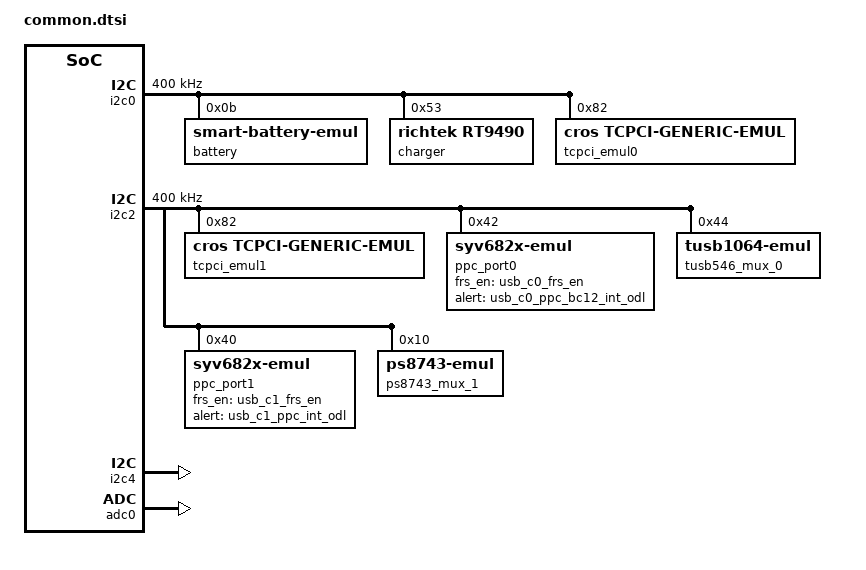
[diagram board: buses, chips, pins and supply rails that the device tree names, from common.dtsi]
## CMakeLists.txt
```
# Copyright 2023 The ChromiumOS Authors
# Use of this source code is governed by a BSD-style license that can be
# found in the LICENSE file.

cmake_minimum_required(VERSION 3.13.1)
find_package(Zephyr REQUIRED HINTS "${ZEPHYR_BASE}")
project(geralt)

add_subdirectory(${PLATFORM_EC}/zephyr/test/test_utils test_utils)

zephyr_include_directories(
	"${PLATFORM_EC_PROGRAM_DIR}/geralt/include"
	include)

zephyr_compile_definitions(DT_N_S_i2c_f03680_P_target_buffered_mode=0)

target_sources(app PRIVATE
	${PLATFORM_EC_PROGRAM_DIR}/geralt/src/base_detect.c
	${PLATFORM_EC_PROGRAM_DIR}/geralt/src/hibernate.c
	${PLATFORM_EC_PROGRAM_DIR}/geralt/src/hooks.c
	${PLATFORM_EC_PROGRAM_DIR}/geralt/src/usbc_config.c
	${PLATFORM_EC_PROGRAM_DIR}/geralt/src/usb_pd_policy.c)

target_sources_ifdef(CONFIG_TEST_GERALT
	app PRIVATE
	src/base_detect.c
	src/common.c
	src/fakes.c
	src/main.c
	src/usbc_config.c)

target_sources_ifdef(CONFIG_TEST_CIRI
	app PRIVATE
	src/fakes.c
	src/board_ciri.c
	${PLATFORM_EC_PROGRAM_DIR}/geralt/ciri/src/board_config.c)
```

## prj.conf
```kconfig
# Copyright 2023 The ChromiumOS Authors
# Use of this source code is governed by a BSD-style license that can be
# found in the LICENSE file.

CONFIG_ZTEST=y
CONFIG_ZTEST_ASSERT_VERBOSE=1

CONFIG_ASSERT=y
CONFIG_ADC=y
CONFIG_CROS_EC=y
CONFIG_EMUL=y

CONFIG_SHIMMED_TASKS=n

CONFIG_PLATFORM_EC=y
CONFIG_PLATFORM_EC_BACKLIGHT_LID=n
CONFIG_PLATFORM_EC_BASE_ATTACHED_SWITCH=y
CONFIG_PLATFORM_EC_BATTERY_FUEL_GAUGE=y
CONFIG_PLATFORM_EC_CHARGER=y
CONFIG_PLATFORM_EC_CHARGER_SENSE_RESISTOR=10
CONFIG_PLATFORM_EC_CHARGER_SENSE_RESISTOR_AC=20
CONFIG_PLATFORM_EC_CHARGE_MANAGER=y
CONFIG_PLATFORM_EC_CHARGE_RAMP_HW=y
CONFIG_PLATFORM_EC_DETACHABLE_BASE=y
CONFIG_PLATFORM_EC_GPIO_INIT_PRIORITY=49
CONFIG_PLATFORM_EC_HOOKS=y
CONFIG_PLATFORM_EC_HOSTCMD=y
CONFIG_PLATFORM_EC_LID_SWITCH=y
CONFIG_PLATFORM_EC_POWERSEQ_HOST_SLEEP=y
CONFIG_PLATFORM_EC_POWER_BUTTON=y
CONFIG_PLATFORM_EC_POWER_SLEEP_FAILURE_DETECTION=y
CONFIG_PLATFORM_EC_SWITCH=n
CONFIG_PLATFORM_EC_TABLET_MODE=y
CONFIG_PLATFORM_EC_USBC=y
CONFIG_PLATFORM_EC_USB_CHARGER=n
CONFIG_PLATFORM_EC_USB_DRP_ACC_TRYSRC=y
CONFIG_PLATFORM_EC_USB_PD_DISCHARGE=y
CONFIG_PLATFORM_EC_USB_PD_DISCHARGE_PPC=y
CONFIG_PLATFORM_EC_USB_PD_VBUS_MEASURE_ADC_EACH_PORT=y
CONFIG_PLATFORM_EC_USB_POWER_DELIVERY=y
CONFIG_PLATFORM_EC_VBOOT_HASH=n

CONFIG_AP_ARM_MTK_MT8188=y
CONFIG_PLATFORM_EC_CHIPSET_RESUME_INIT_HOOK=y
CONFIG_PLATFORM_EC_EXTPOWER_GPIO=y
CONFIG_PLATFORM_EC_POWERSEQ=y
CONFIG_PLATFORM_EC_POWERSEQ_PP5000_CONTROL=n

CONFIG_PLATFORM_EC_USBC_PPC=y

CONFIG_PINCTRL=y
CONFIG_PINCTRL_KEEP_SLEEP_STATE=y

CONFIG_UART_NATIVE_PTY_0_ON_STDINOUT=y
```

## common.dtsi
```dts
/* Copyright 2023 The ChromiumOS Authors
 * Use of this source code is governed by a BSD-style license that can be
 * found in the LICENSE file.
 */

#include <it8xxx2_emul.dts>

/ {
	pinctrl: pinctrl {
		compatible = "ite,it8xxx2-pinctrl";
		status = "disabled";
	};

	intc: interrupt-controller@e000e100 {
		#address-cells = <1>;
		compatible = "arm,v7m-nvic";
		reg = <0xe000e100 0xc00>;
		interrupt-controller;
		#interrupt-cells = <2>;
		arm,num-irq-priority-bits = <4>;
	};

	named-gpios {
		usb_c0_frs_en: usb-c0-frs-en {
			gpios = <&gpioa 3 GPIO_OUTPUT_LOW>;
		};
	};

	named-i2c-ports {
		compatible = "named-i2c-ports";

		battery {
			i2c-port = <&i2c0>;
			remote-port = <1>;
			enum-names = "I2C_PORT_BATTERY",
				"I2C_PORT_VIRTUAL_BATTERY";
		};
		i2c_charger: charger {
			i2c-port = <&i2c0>;
			enum-names = "I2C_PORT_CHARGER",
				"I2C_PORT_EEPROM";
		};
		i2c_sensor: sensor {
			i2c-port = <&i2c2>;
			enum-names = "I2C_PORT_SENSOR";
		};
		i2c_usb_c: usb-c {
			i2c-port = <&i2c2>;
			enum-names = "I2C_PORT_USB_C";
		};
		i2c_detachable_base: detachable-base {
			i2c-port = <&i2c4>;
			enum-names = "I2C_PORT_DETACHABLE_BASE";
		};
	};

	usbc {
		#address-cells = <1>;
		#size-cells = <0>;

		port0@0 {
			compatible = "named-usbc-port";
			status = "okay";
			reg = <0>;
			chg = <&charger>;
			tcpc = <&tcpci_emul0>;
			ppc = <&ppc_port0>;
			usb-mux-chain-0 {
				compatible = "cros-ec,usb-mux-chain";
				usb-muxes = <&tusb546_mux_0 &virtual_mux_0>;
			};
		};
		port0-muxes {
			virtual_mux_0: virtual-mux-0 {
				compatible = "cros-ec,usbc-mux-virtual";
			};
		};

		port1@1 {
			compatible = "named-usbc-port";
			status = "okay";
			reg = <1>;
			tcpc = <&tcpci_emul1>;
			ppc = <&ppc_port1>;
			usb-mux-chain-1 {
				compatible = "cros-ec,usb-mux-chain";
				usb-muxes = <&ps8743_mux_1 &virtual_mux_1>;
			};
		};
		port1-muxes {
			virtual_mux_1: virtual-mux-1 {
				compatible = "cros-ec,usbc-mux-virtual";
			};
		};
	};

	batteries {
		default_battery: lgc_ac17a8m {
			compatible = "lgc,ac17a8m", "battery-smart";
			/**
			 * this has to be strictly lower than the desired
			 * voltage in smart battery emulator (5000mV).
			 */
			voltage_min = <4000>;
		};
	};

	named-adc-channels {
		compatible = "named-adc-channels";

		adc_vbus_c0: adc-vbus-c0 {
			enum-name = "ADC_VBUS_C0";
			io-channels = <&adc0 0>;
			mul = <10>;
		};
		adc_board_id0 {
			enum-name = "ADC_BOARD_ID_0";
			io-channels = <&adc0 1>;
		};
		adc_board_id1 {
			enum-name = "ADC_BOARD_ID_1";
			io-channels = <&adc0 2>;
		};
		adc_base_det: adc-base-det {
			enum-name = "ADC_BASE_DET";
			io-channels = <&adc0 5>;
		};
		adc_vbus_c1 {
			enum-name = "ADC_VBUS_C1";
			io-channels = <&adc0 7>;
			mul = <10>;
		};
		adc_charger: charger {
			enum-name = "ADC_TEMP_SENSOR_CHARGER";
			io-channels = <&adc0 6>;
		};
	};
};

&i2c0 {
	/* I2C_BATTERY */
	battery: sb@b {
		compatible = "zephyr,smart-battery-emul";
		reg = <0xb>;
		cycle-count = <99>;
		version = "BATTERY_SPEC_VER_1_1_WITH_PEC";
		/* Real battery voltages are multiples of 4.4V. */
		desired-charg-volt = <5000>;
		desired-charg-cur = <1000>;
		mf-name = "LGC";
		dev-name = "AC17A8M";
	};

	/* I2C_PWR_CBI */
	status = "okay";
	clock-frequency = <I2C_BITRATE_FAST>;

	charger: rt9490@53 {
		compatible = "richtek,rt9490", "zephyr,rt9490-emul";
		status = "okay";
		reg = <0x53>;
	};

	tcpci_emul0: tcpci_emul@82 {
		compatible = "cros,tcpci-generic-emul";
		status = "okay";
		reg = <0x82>;
	};
};

&i2c2 {
	/* I2C_USB_C */
	status = "okay";
	clock-frequency = <I2C_BITRATE_FAST>;
	/delete-property/ fifo-enable;

	tcpci_emul1: tcpci_emul@82 {
		compatible = "cros,tcpci-generic-emul";
		status = "okay";
		reg = <0x82>;
	};

	ppc_port0: rt1739@70 {
		compatible = "zephyr,syv682x-emul";
		status = "okay";
		reg = <0x42>;
		frs_en_gpio = <&usb_c0_frs_en>;
		alert_gpio = <&usb_c0_ppc_bc12_int_odl>;
	};

	tusb546_mux_0: tusb546-mux-0@44 {
		compatible = "zephyr,tusb1064-emul";
		reg = <0x44>;
	};

	ppc_port1: syv682x@40 {
		compatible = "zephyr,syv682x-emul";
		status = "okay";
		reg = <0x40>;
		frs_en_gpio = <&usb_c1_frs_en>;
		alert_gpio = <&usb_c1_ppc_int_odl>;
	};

	ps8743_mux_1: ps8743-mux-1@10 {
		compatible = "zephyr,ps8743-emul";
		reg = <0x10>;
		// board-init = "ps8743_eq_c1_setting";
	};
};

/* TODO(b/260377762): peripheral mode */
&i2c4 {
	/* I2C_DETACHABLE_BASE */
	status = "okay";
	hid_i2c_target: hid-i2c-target@56 {
		compatible = "cros-ec,hid-i2c-touchpad";
		reg = <0x56>;
	};
};

&adc0 {
	status = "okay";
};

&i2c3 {
	compatible = "ite,enhance-i2c", "zephyr,i2c-emul-controller";
	status = "disabled";
	interrupt-parent = <&intc>;
	interrupts = <0 0>;
	port-num = <3>;
	channel-switch-sel = <3>;
	clock-gate-offset = <0>;
	scl-gpios = <&gpiof 2 0>;
	sda-gpios = <&gpiof 3 0>;
	pinctrl-0 = <>;
	pinctrl-1 = <>;
	pinctrl-names = "default", "sleep";
};
```

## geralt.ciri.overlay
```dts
/* Copyright 2024 The ChromiumOS Authors
 * Use of this source code is governed by a BSD-style license that can be
 * found in the LICENSE file.
 */

#include "common.dtsi"
#include "../program/geralt/gpio.dtsi"
#include "../program/geralt/interrupts.dtsi"
#include "../program/geralt/power_signal.dtsi"

/* remove pinctrl to avoid pull in too many unwanted dependency */
/delete-node/ &pinctrl;

/delete-node/ &int_volume_up;
/delete-node/ &int_volume_down;
/delete-node/ &int_ccd_mode_odl;
/delete-node/ &int_lid_360;

/* no need to maintain the unused-pins list in test code */
/delete-node/ &{/unused-pins};

/ {
	aliases {
		bmi3xx-int = &lid_accel;
		lsm6dsm-int = &lid_accel;
	};

	gpio-interrupts {
        int_lid_imu: lid-imu {
			irq-pin = <&lid_imu_int_l>;
			flags = <GPIO_INT_EDGE_FALLING>;
			handler = "motion_interrupt";
		};
	};

	motionsense-sensor-data {
		lsm6dsm_data_accel: lsm6dsm-accel-drv-data {
			compatible = "cros-ec,drvdata-lsm6dsm";
			status = "okay";
		};
		lsm6dsm_data_gyro: lsm6dsm-gyro-drv-data {
			compatible = "cros-ec,drvdata-lsm6dsm";
			status = "okay";
		};
		bmi323_data: bmi3xx-drv-data {
			compatible = "cros-ec,drvdata-bmi3xx";
			status = "okay";
		};
	};

	motionsense-sensor {
		lid_accel: lid-accel {
			compatible = "cros-ec,bmi3xx-accel";
			status = "okay";

			active-mask = "SENSOR_ACTIVE_S0";
			location = "MOTIONSENSE_LOC_LID";
			drv-data = <&bmi323_data>;
			port = <&i2c_sensor>;
		};

		lid_gyro: lid-gyro {
			compatible = "cros-ec,bmi3xx-gyro";
			status = "okay";

			active-mask = "SENSOR_ACTIVE_S0";
			location = "MOTIONSENSE_LOC_LID";
			drv-data = <&bmi323_data>;
			port = <&i2c_sensor>;
		};
	};

	motionsense-sensor-alt {
		alt_lid_accel: alt-lid-accel {
			compatible = "cros-ec,lsm6dsm-accel";
			status = "okay";

			active-mask = "SENSOR_ACTIVE_S0";
			location = "MOTIONSENSE_LOC_LID";
			drv-data = <&lsm6dsm_data_accel>;
			port = <&i2c_sensor>;
			alternate-for = <&lid_accel>;
		};

		alt_lid_gyro: alt-lid-gyro {
			compatible = "cros-ec,lsm6dsm-gyro";
			status = "okay";

			active-mask = "SENSOR_ACTIVE_S0";
			location = "MOTIONSENSE_LOC_LID";
			drv-data = <&lsm6dsm_data_gyro>;
			port = <&i2c_sensor>;
			alternate-for = <&lid_gyro>;
		};
	};

	motionsense-sensor-info {
		compatible = "cros-ec,motionsense-sensor-info";

		sensor-irqs = <&int_lid_imu>;
	};

	ciri-ssfc {
		compatible = "cros-ec,cbi-ssfc";

		/* SSFC field to identify LID motion sensor. */
		lid-sensor {
			enum-name = "LID_SENSOR";
			size = <3>;

			lid_sensor_0: bmi323 {
				compatible = "cros-ec,cbi-ssfc-value";
				status = "okay";
				value = <1>;
			};
			lid_sensor_1: lsm6dsm {
				compatible = "cros-ec,cbi-ssfc-value";
				status = "okay";
				value = <2>;
				default;
			};
		};
	};
};
```

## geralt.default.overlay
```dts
/* Copyright 2023 The ChromiumOS Authors
 * Use of this source code is governed by a BSD-style license that can be
 * found in the LICENSE file.
 */

#include "common.dtsi"
#include "charger.dtsi"
#include "../program/geralt/gpio.dtsi"
#include "../program/geralt/interrupts.dtsi"
#include "../program/geralt/power_signal.dtsi"

/* remove pinctrl to avoid pull in too many unwanted dependency */
/delete-node/ &pinctrl;

/delete-node/ &int_volume_up;
/delete-node/ &int_volume_down;
/delete-node/ &int_ccd_mode_odl;
/delete-node/ &int_lid_360;
/delete-node/ &int_lid_imu;

/* no need to maintain the unused-pins list in test code */
/delete-node/ &{/unused-pins};

/* open-drain is not supported in gpio emul, re-config to push-pull  */
&ec_pmic_en_odl {
	gpios = <&gpiod 0 (GPIO_OUTPUT_HIGH | GPIO_INPUT | GPIO_VOLTAGE_1P8)>;
};
&sys_rst_odl {
	gpios = <&gpiog 1 GPIO_OUTPUT_LOW>;
};

/* set default gpio-emul state */
&power_button_l {
	gpios = <&gpioe 4 (GPIO_INPUT | GPIO_PULL_UP)>;
};
```

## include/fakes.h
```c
/* Copyright 2024 The ChromiumOS Authors
 * Use of this source code is governed by a BSD-style license that can be
 * found in the LICENSE file.
 */

#ifndef PLATFORM_EC_ZEPHYR_TEST_GERALT_INCLUDE_FAKES_H_
#define PLATFORM_EC_ZEPHYR_TEST_GERALT_INCLUDE_FAKES_H_

#include "battery.h"

#include <zephyr/drivers/pinctrl.h>
#include <zephyr/fff.h>

DECLARE_FAKE_VALUE_FUNC(enum battery_present, battery_is_present);
DECLARE_FAKE_VALUE_FUNC(int, tc_is_attached_src, int);
DECLARE_FAKE_VALUE_FUNC(int, pinctrl_configure_pins, const pinctrl_soc_pin_t *,
			uint8_t, uintptr_t);

#endif /* PLATFORM_EC_ZEPHYR_TEST_GERALT_INCLUDE_FAKES_H_ */
```

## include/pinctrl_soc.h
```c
/* Copyright 2026 The ChromiumOS Authors
 * Use of this source code is governed by a BSD-style license that can be
 * found in the LICENSE file.
 */

#ifndef PLATFORM_EC_ZEPHYR_TEST_GERALT_INCLUDE_PINCTRL_SOC_H_
#define PLATFORM_EC_ZEPHYR_TEST_GERALT_INCLUDE_PINCTRL_SOC_H_

#include <stdint.h>

struct pinctrl_soc_pin {
	uint32_t empty;
};

typedef struct pinctrl_soc_pin pinctrl_soc_pin_t;

#define Z_PINCTRL_STATE_PINS_INIT(node_id, prop) \
	{                                        \
	}

#endif /* PLATFORM_EC_ZEPHYR_TEST_GERALT_INCLUDE_PINCTRL_SOC_H_ */
```

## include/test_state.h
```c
/* Copyright 2023 The ChromiumOS Authors
 * Use of this source code is governed by a BSD-style license that can be
 * found in the LICENSE file.
 */

#ifndef PLATFORM_EC_ZEPHYR_TEST_GERALT_INCLUDE_TEST_STATE_H_
#define PLATFORM_EC_ZEPHYR_TEST_GERALT_INCLUDE_TEST_STATE_H_

#include <stdbool.h>

struct test_state {
	bool ec_app_main_run;
};

bool geralt_predicate_post_main(const void *state);

#endif /* PLATFORM_EC_ZEPHYR_TEST_GERALT_INCLUDE_TEST_STATE_H_ */
```

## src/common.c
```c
/* Copyright 2023 The ChromiumOS Authors
 * Use of this source code is governed by a BSD-style license that can be
 * found in the LICENSE file.
 */

#include "adc.h"
#include "battery.h"
#include "charge_manager.h"
#include "driver/ppc/syv682x.h"
#include "driver/ppc/syv682x_public.h"
#include "emul/emul_common_i2c.h"
#include "emul/emul_syv682x.h"
#include "fakes.h"
#include "hooks.h"
#include "i2c/i2c.h"
#include "system.h"
#include "test_state.h"
#include "usb_pd.h"
#include "usb_pd_policy.h"
#include "usbc_ppc.h"

#include <zephyr/devicetree.h>
#include <zephyr/drivers/emul.h>
#include <zephyr/drivers/gpio.h>
#include <zephyr/drivers/gpio/gpio_emul.h>
#include <zephyr/fff.h>
#include <zephyr/ztest.h>

#include <ap_power/ap_power.h>
#include <ap_power/ap_power_events.h>

ZTEST(geralt_common, test_none)
{
	/* placeholder test */
}

ZTEST(geralt_common, test_port_frs_disable_until_source_on)
{
	for (int i = 0; i < CONFIG_USB_PD_PORT_MAX_COUNT; i++) {
		/* all ports delay the FRS disabled pins */
		zassert_true(port_frs_disable_until_source_on(i));
	}
}

ZTEST(geralt_common, test_hooks)
{
	const struct gpio_dt_spec *en_5v =
		GPIO_DT_FROM_NODELABEL(gpio_en_5v_usm);

	hook_notify(HOOK_INIT);
	hook_notify(HOOK_CHIPSET_PRE_INIT);
	zassert_equal(pinctrl_configure_pins_fake.call_count, 1);
	hook_notify(HOOK_CHIPSET_HARD_OFF);
	zassert_equal(pinctrl_configure_pins_fake.call_count, 2);
	hook_notify(HOOK_AC_CHANGE);

	ap_power_ev_send_callbacks(AP_POWER_RESUME);
	zassert_equal(gpio_emul_output_get(en_5v->port, en_5v->pin), 1);

	ap_power_ev_send_callbacks(AP_POWER_SUSPEND);
	zassert_equal(gpio_emul_output_get(en_5v->port, en_5v->pin), 0);
}

ZTEST(geralt_common, test_hibernate)
{
	const struct gpio_dt_spec *en_pp5000 =
		GPIO_DT_FROM_NODELABEL(en_pp5000_z1_l);
	const struct gpio_dt_spec *en_ulp = GPIO_DT_FROM_NODELABEL(en_ulp);

	gpio_pin_set_dt(en_pp5000, 0);
	gpio_pin_set_dt(en_ulp, 0);

	board_hibernate_late();

	zassert_equal(gpio_emul_output_get(en_pp5000->port, en_pp5000->pin), 1);
	zassert_equal(gpio_emul_output_get(en_ulp->port, en_ulp->pin), 1);
}

static void geralt_common_before(void *fixture)
{
	RESET_FAKE(pinctrl_configure_pins);
}

ZTEST_SUITE(geralt_common, geralt_predicate_post_main, NULL,
	    geralt_common_before, NULL, NULL);
```

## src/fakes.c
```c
/* Copyright 2024 The ChromiumOS Authors
 * Use of this source code is governed by a BSD-style license that can be
 * found in the LICENSE file.
 */
#include "fakes.h"

#include <zephyr/device.h>
#include <zephyr/devicetree.h>
#include <zephyr/drivers/i2c.h>

DEFINE_FAKE_VALUE_FUNC(enum battery_present, battery_is_present);
DEFINE_FAKE_VALUE_FUNC(int, tc_is_attached_src, int);
DEFINE_FAKE_VALUE_FUNC(int, pinctrl_configure_pins, const pinctrl_soc_pin_t *,
		       uint8_t, uintptr_t);

static int fake_target_register(const struct device *dev)
{
	return 0;
}
static int fake_target_unregister(const struct device *dev)
{
	return 0;
}
static const struct i2c_target_driver_api fake_target_api = {
	.driver_register = fake_target_register,
	.driver_unregister = fake_target_unregister,
};
DEVICE_DT_DEFINE(DT_NODELABEL(hid_i2c_target), NULL, NULL, NULL, NULL,
		 POST_KERNEL, 90, &fake_target_api);
```

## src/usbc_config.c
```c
/* Copyright 2023 The ChromiumOS Authors
 * Use of this source code is governed by a BSD-style license that can be
 * found in the LICENSE file.
 */

#include "adc.h"
#include "battery.h"
#include "charge_manager.h"
#include "driver/ppc/syv682x.h"
#include "driver/ppc/syv682x_public.h"
#include "driver/tcpm/it83xx_pd.h"
#include "emul/emul_common_i2c.h"
#include "emul/emul_syv682x.h"
#include "fakes.h"
#include "gpio_signal.h"
#include "i2c/i2c.h"
#include "power.h"
#include "test_state.h"
#include "usb_pd.h"
#include "usb_pd_policy.h"
#include "usbc_ppc.h"

#include <zephyr/devicetree.h>
#include <zephyr/devicetree/io-channels.h>
#include <zephyr/drivers/adc/adc_emul.h>
#include <zephyr/drivers/emul.h>
#include <zephyr/drivers/gpio.h>
#include <zephyr/drivers/gpio/gpio_emul.h>
#include <zephyr/fff.h>
#include <zephyr/ztest.h>

void xhci_interrupt(enum gpio_signal signal);

static bool ppc_sink_enabled(int port)
{
	const struct emul *emul = (port == 0) ?
					  EMUL_DT_GET(DT_NODELABEL(ppc_port0)) :
					  EMUL_DT_GET(DT_NODELABEL(ppc_port1));
	uint8_t val = 0;

	syv682x_emul_get_reg(emul, SYV682X_CONTROL_1_REG, &val);

	return !(val & (SYV682X_CONTROL_1_PWR_ENB | SYV682X_CONTROL_1_HV_DR));
}

ZTEST(usbc_config, test_set_active_charge_port)
{
	/* reset ppc state */
	zassert_ok(board_set_active_charge_port(CHARGE_PORT_NONE), NULL);
	zassert_false(ppc_sink_enabled(0), NULL);
	zassert_false(ppc_sink_enabled(1), NULL);

	/* sourcing port 0, expect port 0 not sinkable */
	zassert_ok(pd_set_power_supply_ready(0));
	zassert_not_equal(board_set_active_charge_port(0), 0, NULL);
	zassert_true(board_vbus_source_enabled(0), NULL);
	zassert_false(board_vbus_source_enabled(1), NULL);
	zassert_false(ppc_sink_enabled(0), NULL);
	zassert_false(ppc_sink_enabled(1), NULL);

	/* sinking port 1 */
	zassert_ok(board_set_active_charge_port(1), NULL);
	zassert_false(ppc_sink_enabled(0), NULL);
	zassert_true(ppc_sink_enabled(1), NULL);

	/*
	 * sinking an invalid port should return error and doesn't change
	 * any state
	 */
	zassert_not_equal(board_set_active_charge_port(2), 0, NULL);
	zassert_true(board_vbus_source_enabled(0), NULL);
	zassert_false(board_vbus_source_enabled(1), NULL);
	zassert_false(ppc_sink_enabled(0), NULL);
	zassert_true(ppc_sink_enabled(1), NULL);

	/* turn off sourcing, sinking port 0 */
	pd_power_supply_reset(0);
	zassert_ok(board_set_active_charge_port(0), NULL);
	zassert_true(ppc_sink_enabled(0), NULL);
	zassert_false(ppc_sink_enabled(1), NULL);

	/* sinking port 1 */
	zassert_ok(board_set_active_charge_port(1), NULL);
	zassert_false(ppc_sink_enabled(0), NULL);
	zassert_true(ppc_sink_enabled(1), NULL);

	/* back to port 0 */
	zassert_ok(board_set_active_charge_port(0), NULL);
	zassert_true(ppc_sink_enabled(0), NULL);
	zassert_false(ppc_sink_enabled(1), NULL);

	/* reset */
	zassert_ok(board_set_active_charge_port(CHARGE_PORT_NONE), NULL);
	zassert_false(board_vbus_source_enabled(0), NULL);
	zassert_false(board_vbus_source_enabled(1), NULL);
	zassert_false(ppc_sink_enabled(0), NULL);
	zassert_false(ppc_sink_enabled(1), NULL);
}

ZTEST(usbc_config, test_set_active_charge_port_fail)
{
	const struct emul *ppc0 = EMUL_DT_GET(DT_NODELABEL(ppc_port0));

	/* Verify that failure on ppc0 doesn't affect ppc1 */
	i2c_common_emul_set_write_fail_reg(
		emul_syv682x_get_i2c_common_data(ppc0),
		I2C_COMMON_EMUL_FAIL_ALL_REG);

	zassert_ok(board_set_active_charge_port(1), NULL);
	zassert_true(ppc_sink_enabled(1), NULL);
	zassert_ok(board_set_active_charge_port(CHARGE_PORT_NONE), NULL);
	zassert_false(ppc_sink_enabled(1), NULL);
	zassert_ok(board_set_active_charge_port(1), NULL);
	zassert_true(ppc_sink_enabled(1), NULL);

	/* trying to enable ppc0 results in error */
	zassert_not_equal(board_set_active_charge_port(0), 0, NULL);
	zassert_false(ppc_sink_enabled(1), NULL);
}

ZTEST(usbc_config, test_adc_channel)
{
	zassert_equal(board_get_vbus_adc(0), ADC_VBUS_C0, NULL);
	zassert_equal(board_get_vbus_adc(1), ADC_VBUS_C1, NULL);
	zassert_equal(board_get_vbus_adc(99), ADC_VBUS_C0, NULL);
}

static void set_vbus_adc(int voltage)
{
	const struct device *adc_dev =
		DEVICE_DT_GET(DT_IO_CHANNELS_CTLR(DT_NODELABEL(adc_vbus_c0)));
	const int channel = DT_IO_CHANNELS_INPUT(DT_NODELABEL(adc_vbus_c0));

	adc_emul_const_value_set(adc_dev, channel, voltage / 10);
}

ZTEST(usbc_config, test_pd_check_vbus_level)
{
	/* SAFE0V true */
	set_vbus_adc(PD_V_SAFE0V_MAX - 1);
	zassert_true(pd_check_vbus_level(0, VBUS_SAFE0V), NULL);

	/* SAFE0V false */
	set_vbus_adc(PD_V_SAFE0V_MAX + 100);
	zassert_false(pd_check_vbus_level(0, VBUS_SAFE0V), NULL);

	/* PRESENT true */
	set_vbus_adc(PD_V_SAFE5V_MIN + 100);
	zassert_true(pd_check_vbus_level(0, VBUS_PRESENT), NULL);

	/* PRESENT false */
	set_vbus_adc(PD_V_SAFE5V_MIN - 500);
	zassert_false(pd_check_vbus_level(0, VBUS_PRESENT), NULL);

	/* REMOVED true */
	set_vbus_adc(PD_V_SINK_DISCONNECT_MAX - 1);
	zassert_true(pd_check_vbus_level(0, VBUS_REMOVED), NULL);

	/* REMOVED false */
	set_vbus_adc(PD_V_SINK_DISCONNECT_MAX + 500);
	zassert_false(pd_check_vbus_level(0, VBUS_REMOVED), NULL);

	/* invalid enum */
	set_vbus_adc(1000);
	zassert_false(pd_check_vbus_level(0, 123), NULL);
}

ZTEST(usbc_config, test_board_pd_misc)
{
	board_pd_vconn_ctrl(0, USBPD_CC_PIN_1, 1);
	board_reset_pd_mcu();
}

#ifdef CONFIG_USB_PD_TCPM_ITE_ON_CHIP
ZTEST(usbc_config, test_cc_tuning_parameter)
{
	const struct cc_para_t *param;

	param = board_get_cc_tuning_parameter(0);
	zassert_not_null(param, NULL);
	zassert_equal(param->rc_filter, IT83XX_TX_RC_FILTER_TRIM, NULL);

	param = board_get_cc_tuning_parameter(1);
	zassert_not_null(param, NULL);
	zassert_equal(param->rc_filter, IT83XX_TX_RC_FILTER_TRIM, NULL);
}
#endif

ZTEST(usbc_config, test_pd_get_drp_state_in_s0)
{
	const struct gpio_dt_spec *xhci =
		GPIO_DT_FROM_NODELABEL(ap_xhci_init_done);

	gpio_emul_input_set(xhci->port, xhci->pin, 1);
	zassert_equal(pd_get_drp_state_in_s0(), PD_DRP_TOGGLE_ON, NULL);

	gpio_emul_input_set(xhci->port, xhci->pin, 0);
	zassert_equal(pd_get_drp_state_in_s0(), PD_DRP_FORCE_SINK, NULL);
}

ZTEST(usbc_config, test_xhci_interrupt)
{
	const struct gpio_dt_spec *xhci =
		GPIO_DT_FROM_NODELABEL(ap_xhci_init_done);
	enum gpio_signal signal = GPIO_SIGNAL(DT_NODELABEL(ap_xhci_init_done));

	/* Input 1, attached src=0 -> dual role PD_DRP_TOGGLE_ON */
	gpio_emul_input_set(xhci->port, xhci->pin, 1);
	tc_is_attached_src_fake.return_val = 0;
	xhci_interrupt(signal);
	for (int i = 0; i < CONFIG_USB_PD_PORT_MAX_COUNT; i++) {
		zassert_equal(pd_get_dual_role(i), PD_DRP_TOGGLE_ON);
	}

	/* Input 1, attached src=1 -> dual role PD_DRP_TOGGLE_ON */
	gpio_emul_input_set(xhci->port, xhci->pin, 1);
	tc_is_attached_src_fake.return_val = 1;
	xhci_interrupt(signal);
	for (int i = 0; i < CONFIG_USB_PD_PORT_MAX_COUNT; i++) {
		zassert_equal(pd_get_dual_role(i), PD_DRP_TOGGLE_ON);
	}

	/* Input 0 with attached src -> dual role PD_DRP_FORCE_SINK */
	gpio_emul_input_set(xhci->port, xhci->pin, 0);
	tc_is_attached_src_fake.return_val = 1;
	xhci_interrupt(signal);
	for (int i = 0; i < CONFIG_USB_PD_PORT_MAX_COUNT; i++) {
		zassert_equal(pd_get_dual_role(i), PD_DRP_FORCE_SINK);
	}

	/* Input 0 with not attached src */
	tc_is_attached_src_fake.return_val = 0;
	xhci_interrupt(signal);
	for (int i = 0; i < CONFIG_USB_PD_PORT_MAX_COUNT; i++) {
		zassert_equal(pd_get_dual_role(i), PD_DRP_FORCE_SINK);
	}
}

ZTEST(usbc_config, test_pd_check_vconn_swap)
{
	const int port = 0;

	/* suspend */
	power_set_state(POWER_S3);
	zassert_equal(pd_check_vconn_swap(port), true, NULL);

	/* s0 */
	power_set_state(POWER_S0);
	zassert_equal(pd_check_vconn_swap(port), true, NULL);

	/* softoff */
	power_set_state(POWER_S5);
	zassert_equal(pd_check_vconn_swap(port), false, NULL);

	/* hardoff */
	power_set_state(POWER_G3);
	zassert_equal(pd_check_vconn_swap(port), false, NULL);
}

ZTEST(usbc_config, test_pd_snk_is_vbus_provided)
{
	set_vbus_adc(PD_V_SINK_DISCONNECT_MAX + 500);
	zassert_equal(pd_snk_is_vbus_provided(0), 1, NULL);
	zassert_equal(pd_snk_is_vbus_provided(0), 1, NULL);

	set_vbus_adc(PD_V_SINK_DISCONNECT_MAX - 500);
	zassert_equal(pd_snk_is_vbus_provided(0), 0, NULL);
	zassert_equal(pd_snk_is_vbus_provided(0), 0, NULL);
}

static int fail_second_write(const struct emul *target, int reg, uint8_t val,
			     int bytes, void *data)
{
	int *write_count = data;

	(*write_count)++;
	if (*write_count >= 2) {
		return -EIO;
	}
	return 1;
}

ZTEST(usbc_config, test_pd_set_power_supply_ready_fail)
{
	const struct emul *ppc0 = EMUL_DT_GET(DT_NODELABEL(ppc_port0));
	struct i2c_common_emul_data *i2c_data =
		emul_syv682x_get_i2c_common_data(ppc0);
	int write_count = 0;

	/* Fail sink disable */
	i2c_common_emul_set_write_fail_reg(i2c_data,
					   I2C_COMMON_EMUL_FAIL_ALL_REG);
	zassert_not_equal(pd_set_power_supply_ready(0), EC_SUCCESS, NULL);

	/* Restore and fail source enable */
	i2c_common_emul_set_write_fail_reg(i2c_data,
					   I2C_COMMON_EMUL_NO_FAIL_REG);
	i2c_common_emul_set_write_func(i2c_data, fail_second_write,
				       &write_count);
	zassert_not_equal(pd_set_power_supply_ready(0), EC_SUCCESS, NULL);

	i2c_common_emul_set_write_func(i2c_data, NULL, NULL);
}

static void geralt_usbc_config_before(void *fixture)
{
	const struct emul *ppc0 = EMUL_DT_GET(DT_NODELABEL(ppc_port0));
	const struct emul *ppc1 = EMUL_DT_GET(DT_NODELABEL(ppc_port1));

	RESET_FAKE(tc_is_attached_src);
	power_set_state(POWER_S0);

	i2c_common_emul_set_write_fail_reg(
		emul_syv682x_get_i2c_common_data(ppc0),
		I2C_COMMON_EMUL_NO_FAIL_REG);
	i2c_common_emul_set_write_fail_reg(
		emul_syv682x_get_i2c_common_data(ppc1),
		I2C_COMMON_EMUL_NO_FAIL_REG);
	i2c_common_emul_set_write_func(emul_syv682x_get_i2c_common_data(ppc0),
				       NULL, NULL);
	i2c_common_emul_set_write_func(emul_syv682x_get_i2c_common_data(ppc1),
				       NULL, NULL);

	board_set_active_charge_port(CHARGE_PORT_NONE);
}

ZTEST_SUITE(usbc_config, geralt_predicate_post_main, NULL,
	    geralt_usbc_config_before, NULL, NULL);
```
